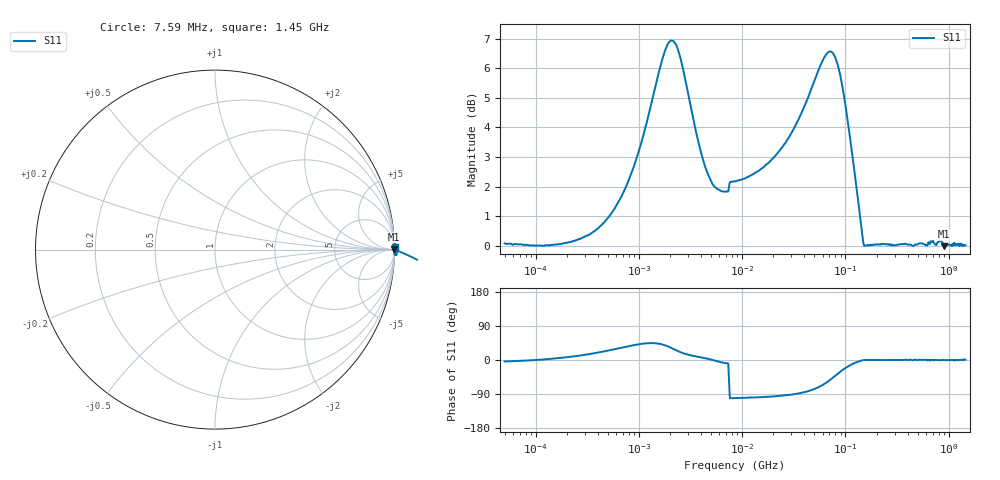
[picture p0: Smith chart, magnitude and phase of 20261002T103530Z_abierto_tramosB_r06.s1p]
! piloto_saltos / abierto_tramosB / r06
# HZ S RI R 50
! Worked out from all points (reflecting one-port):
!   501 points, 50 kHz to 1.45 GHz, reference 50 ohm
!   lowest |S11| = 0.0 dB at 898 MHz (marker M1)
!   phase of S11 starts at -4 deg and turns +5 deg over the sweep
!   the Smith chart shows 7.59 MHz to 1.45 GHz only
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50000  1.007 -0.069
182500  1.003 0.1058
381000  1.008 0.3364
678000  1.022 0.6499
1137000  1.133 1.083
1623000  1.496 1.353
1947000  1.808 1.259
2379000  1.966 0.8599
2784000  1.843 0.5455
3000000  1.75 0.434
4620000  1.323 0.079
6780000  1.222 -0.172
8130000  -0.2369 -1.261
8670000  -0.2329 -1.263
1.839e7  -0.1662 -1.375
3.27e7  0.00636 -1.594
4.62e7  0.3179 -1.804
5.7e7  0.7056 -1.886
6.51e7  1.052 -1.822
7.32e7  1.376 -1.621
8.67e7  1.653 -1.09
9.75e7  1.634 -0.6959
1.137e8  1.438 -0.3102
1.326e8  1.189 -0.0906
1.542e8  0.9996 0.00029
4.035e8  1.005 0.000904
8.98e8  0.9985 0.00298
1.45e9  1.002 0.0163
